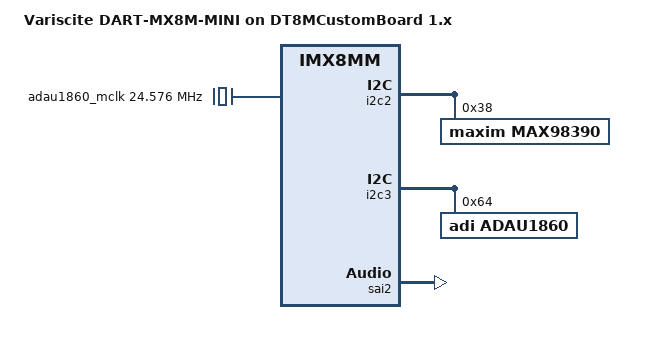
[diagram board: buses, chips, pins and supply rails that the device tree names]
// SPDX-License-Identifier: (GPL-2.0+ OR MIT)
/*
 * Copyright 2019 NXP
 * Copyright 2019-2022 Variscite Ltd.
 */

#include "imx8mm-var-dart-dt8mcustomboard.dts"

/ {
	model = "Variscite DART-MX8M-MINI on DT8MCustomBoard 1.x";

	gpio-keys {
		pinctrl-names = "default";
		pinctrl-0 = <&pinctrl_gpio_keys>;

		up {
			gpios = <&gpio4 18 GPIO_ACTIVE_LOW>;
		};

		down {
			gpios = <&gpio4 15 GPIO_ACTIVE_LOW>;
		};

		home {
			gpios = <&gpio4 13 GPIO_ACTIVE_LOW>;
		};

		back {
			gpios = <&gpio4 6 GPIO_ACTIVE_LOW>;
		};
	};

	gpio-leds {
		emmc {
			gpios = <&gpio4 17 GPIO_ACTIVE_HIGH>;
		};
	};

	can0_osc: can0_osc {
		clock-frequency = <20000000>;
	};

	adau1860_mclk: oscillator {
				compatible = "fixed-clock";
				status = "okay";
				#clock-cells=<0>;
				clock-frequency = <24576000>;
				clock-output-names = "adau1860_mclk";
	};

	simple_card {
		status = "okay";
		compatible = "simple-audio-card";
		simple-audio-card,name = "adau1860-audio";
		simple-audio-card,widgets =
				"Headphone", "Headphone Out",
				"Speaker", "Speaker External";
		simple-audio-card,routing =
				"Headphone Out", "HPOUTP",
				"Headphone Out", "HPOUTN",
				"Speaker External", "BE_OUT";
		simple-audio-card,dai-link@0 {
			format = "dsp_a";
			cpu {
				sound-dai = <&sai2>;
				dai-tdm-slot-num = <4>;
				dai-tdm-slot-width = <32>;
			};
			codec {
				sound-dai = <&adau1860 0>;
				dai-tdm-slot-num = <4>;
				dai-tdm-slot-width = <32>;
				frame-master;
				bitclock-master;
			};
		};
		simple-audio-card,dai-link@1 {
			format = "dsp_a";
			cpu {
				sound-dai = <&adau1860 1>;
				dai-tdm-slot-num = <2>;
				dai-tdm-slot-width = <16>;
			};
			codec {
				sound-dai = <&max98390>;
				dai-tdm-slot-num = <2>;
				dai-tdm-slot-width = <16>;
				frame-master;
				bitclock-master;
			};
		};
	};

	/delete-node/ extcon_usb1;
};

&can0 {
	spi-max-frequency = <10000000>;
	/delete-property/ microchip,rx-interrupt;
};

&i2c2 {
	status = "okay";
	max98390: amplifier@38 {
			#sound-dai-cells = <0>;
			compatible = "maxim,max98390";
			reg = <0x38>;
			maxim,temperature_calib = <1024>;
			maxim,r0_calib = <100232>;
	};
};

&i2c3 {
	adau1860: audio-codec@64 {
			#sound-dai-cells = <1>;
			reg = <0x64>;
			clocks = <&adau1860_mclk>;
			clock-names = "mclk";
			compatible = "adi,adau1860";
	};
};

&sai2 {
	pinctrl-names = "default";
	pinctrl-0 = <&pinctrl_sai2>;
	assigned-clocks = <&clk IMX8MM_CLK_SAI2>;
	assigned-clock-parents = <&clk IMX8MM_AUDIO_PLL1_OUT>;
	assigned-clock-rates = <24576000>;
	status = "okay";
};

&usbotg1 {
	/delete-property/ extcon;
};

&iomuxc {
	/delete-node/ pca6408grp;

	/delete-node/ extcongrp;

	pinctrl_can: cangrp {
		fsl,pins = <
			MX8MM_IOMUXC_GPIO1_IO06_GPIO1_IO6		0x16
		>;
	};

	pinctrl_captouch: captouchgrp {
		fsl,pins = <
			MX8MM_IOMUXC_SAI1_RXD3_GPIO4_IO5		0x16
			MX8MM_IOMUXC_GPIO1_IO14_GPIO1_IO14		0x16
		>;
	};

	pinctrl_gpio_keys: keygrp {
		fsl,pins = <
			MX8MM_IOMUXC_SAI1_TXD3_GPIO4_IO15		0x1c6
			MX8MM_IOMUXC_SAI1_TXD6_GPIO4_IO18		0x1c6
			MX8MM_IOMUXC_SAI1_TXD1_GPIO4_IO13		0x1c6
			MX8MM_IOMUXC_SAI1_RXD4_GPIO4_IO6		0x1c6
		>;
	};

	pinctrl_leds: ledgrp {
		fsl,pins = <
			MX8MM_IOMUXC_SAI1_RXD1_GPIO4_IO3		0x1c6
			MX8MM_IOMUXC_SAI1_TXD2_GPIO4_IO14		0x1c6
			MX8MM_IOMUXC_SAI1_RXD2_GPIO4_IO4		0x1c6
			MX8MM_IOMUXC_SAI1_TXD5_GPIO4_IO17		0x1c6
		>;
	};

	pinctrl_pcie0: pcie0grp {
		fsl,pins = <
			MX8MM_IOMUXC_SAI1_RXD5_GPIO4_IO7		0x41
		>;
	};

	pinctrl_csi1: csi1grp {
		fsl,pins = <
			MX8MM_IOMUXC_SAI1_RXD6_GPIO4_IO8		0x19
			MX8MM_IOMUXC_UART4_RXD_GPIO5_IO28		0x19
		>;
	};

	pinctrl_sai2: sai2grp {
		fsl,pins = <
			MX8MM_IOMUXC_SAI2_RXD0_SAI2_RX_DATA0		0xd6
			MX8MM_IOMUXC_SAI2_TXFS_SAI2_TX_SYNC		0xd6
			MX8MM_IOMUXC_SAI2_TXC_SAI2_TX_BCLK		0xd6
			MX8MM_IOMUXC_SAI2_TXD0_SAI2_TX_DATA0		0xd6
			MX8MM_IOMUXC_SAI2_MCLK_SAI2_MCLK		0xd6
		>;
	};
};
